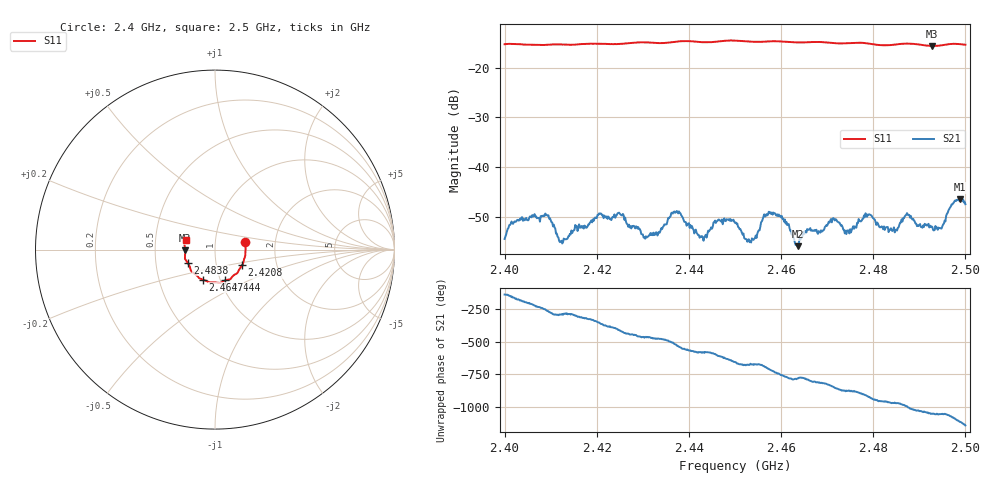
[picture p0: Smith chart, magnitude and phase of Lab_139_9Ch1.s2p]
# Hz S RI R 50
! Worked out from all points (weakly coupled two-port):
!   601 points, 2.4 GHz to 2.5 GHz, reference 50 ohm
!   highest |S21| = -46.48 dB at 2.4988 GHz (marker M1); lowest = -56.0 dB at 2.4637 GHz (marker M2)
!   lowest |S11| = -15.6 dB at 2.4928 GHz (marker M3), VSWR 1.40, Z = 35.8 - j0.346 ohm
!   |S11| at or under -10 dB: start of sweep to end of sweep
!   S12 and S22 are empty: the file has one direction only
!   S11 on the Smith chart (normalised r, x): 2.4 GHz: 1.40, +0.12; 2.4208 GHz: 1.33, -0.24; 2.444 GHz: 1.06, -0.37; 2.4647 GHz: 0.83, -0.29; 2.4838 GHz: 0.73, -0.11; 2.5 GHz: 0.72, +0.08
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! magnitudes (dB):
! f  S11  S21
! 2.4 GHz  -15.3  -54.5
! 2.406 GHz  -15.4  -49.7
! 2.4093 GHz  -15.4  -49.8
! 2.4122 GHz  -15.3  -55.0
! 2.4167 GHz  -15.2  -51.9
! 2.4208 GHz  -15.2  -49.4
! 2.4333 GHz  -15.0  -53.4
! 2.4373 GHz  -14.7  -48.9
! 2.444 GHz  -14.9  -53.6
! 2.45 GHz  -14.5  -51.3
! 2.4532 GHz  -14.7  -55.2
! 2.4588 GHz  -14.7  -49.6
! 2.4637 GHz  -14.9  -56.0
! 2.4647 GHz  -14.9  -53.9
! 2.4667 GHz  -14.8  -52.8
! 2.4788 GHz  -15.1  -49.6
! 2.4833 GHz  -15.5  -53.1
! 2.4838 GHz  -15.4  -52.4
! 2.4873 GHz  -15.1  -49.3
! 2.4928 GHz  -15.6  -52.1
! 2.4988 GHz  -15.2  -46.5
! 2.5 GHz  -15.4  -47.5
